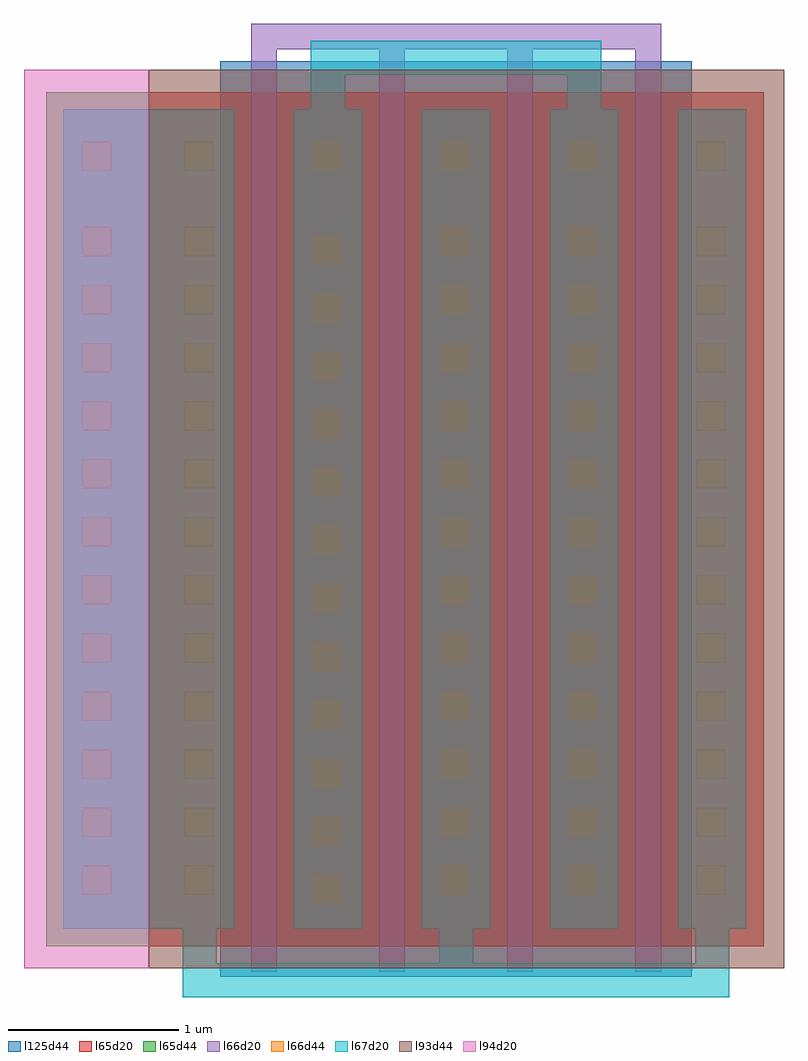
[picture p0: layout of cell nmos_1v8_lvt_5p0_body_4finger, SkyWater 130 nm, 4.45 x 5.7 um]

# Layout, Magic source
magic
tech sky130a
<< l67d20 >>
rect -460 520 -290 540
rect -460 500 -440 520
rect -310 500 -290 520
rect -545 20 -505 500
rect -470 20 -430 500
rect -395 20 -355 500
rect -320 20 -280 500
rect -245 20 -205 500
rect -535 0 -515 20
rect -385 0 -365 20
rect -235 0 -215 20
rect -535 -20 -215 0
rect -605 20 -565 500
rect -565 20 -545 500
<< l66d20 >>
rect -495 535 -255 550
rect -495 -5 -480 535
rect -420 -5 -405 535
rect -345 -5 -330 535
rect -270 -5 -255 535
<< l66d44 >>
rect -534 464 -517 481
rect -459 464 -442 481
rect -384 464 -367 481
rect -309 464 -292 481
rect -234 464 -217 481
rect -534 414 -517 431
rect -459 409 -442 426
rect -384 414 -367 431
rect -309 414 -292 431
rect -234 414 -217 431
rect -534 380 -517 397
rect -459 375 -442 392
rect -384 380 -367 397
rect -309 380 -292 397
rect -234 380 -217 397
rect -534 346 -517 363
rect -459 341 -442 358
rect -384 346 -367 363
rect -309 346 -292 363
rect -234 346 -217 363
rect -534 312 -517 329
rect -459 307 -442 324
rect -384 312 -367 329
rect -309 312 -292 329
rect -234 312 -217 329
rect -534 278 -517 295
rect -459 273 -442 290
rect -384 278 -367 295
rect -309 278 -292 295
rect -234 278 -217 295
rect -534 244 -517 261
rect -459 239 -442 256
rect -384 244 -367 261
rect -309 244 -292 261
rect -234 244 -217 261
rect -534 210 -517 227
rect -459 205 -442 222
rect -384 210 -367 227
rect -309 210 -292 227
rect -234 210 -217 227
rect -534 176 -517 193
rect -459 171 -442 188
rect -384 176 -367 193
rect -309 176 -292 193
rect -234 176 -217 193
rect -534 142 -517 159
rect -459 137 -442 154
rect -384 142 -367 159
rect -309 142 -292 159
rect -234 142 -217 159
rect -534 108 -517 125
rect -459 103 -442 120
rect -384 108 -367 125
rect -309 108 -292 125
rect -234 108 -217 125
rect -534 74 -517 91
rect -459 69 -442 86
rect -384 74 -367 91
rect -309 74 -292 91
rect -234 74 -217 91
rect -534 40 -517 57
rect -459 35 -442 52
rect -384 40 -367 57
rect -309 40 -292 57
rect -234 40 -217 57
rect -594 464 -577 481
rect -594 414 -577 431
rect -594 380 -577 397
rect -594 346 -577 363
rect -594 312 -577 329
rect -594 278 -577 295
rect -594 244 -577 261
rect -594 210 -577 227
rect -594 176 -577 193
rect -594 142 -577 159
rect -594 108 -577 125
rect -594 74 -577 91
rect -594 40 -577 57
<< l65d20 >>
rect -555 10 -195 510
<< l93d44 >>
rect -555 -3 -183 523
<< l125d44 >>
rect -513 -8 -237 528
<< l94d20 >>
rect -628 -3 -555 523
<< l65d44 >>
rect -615 10 -555 510
<< end >>
